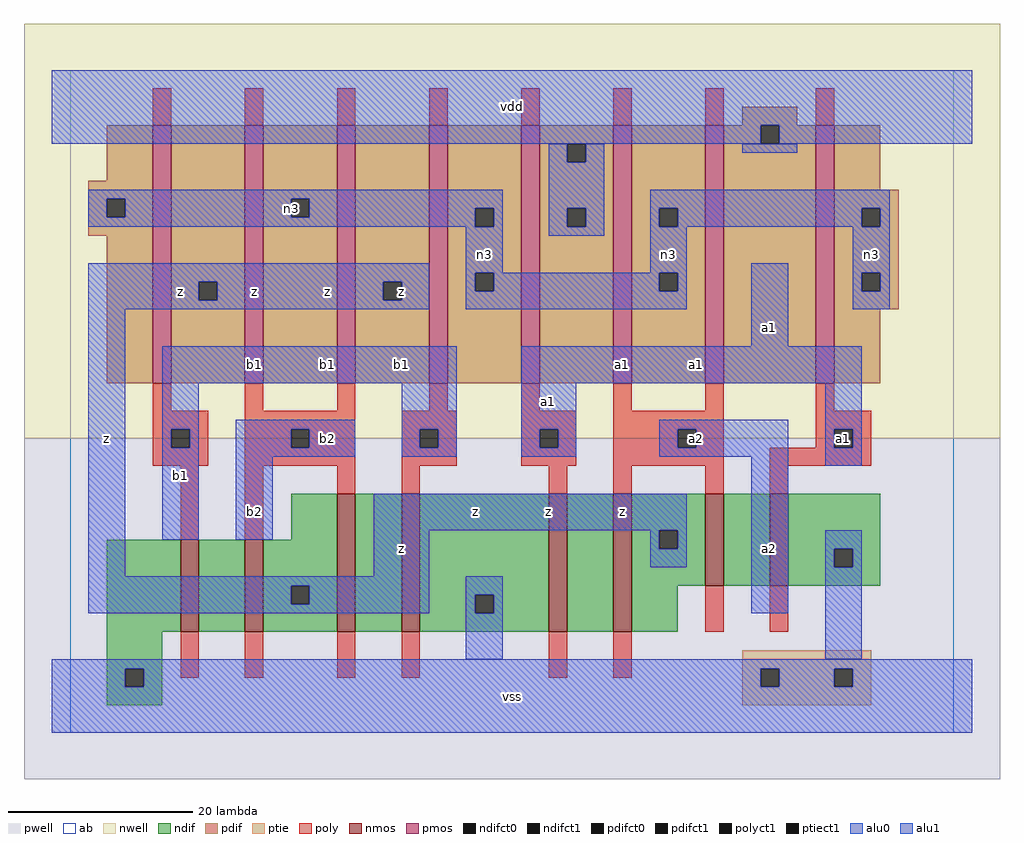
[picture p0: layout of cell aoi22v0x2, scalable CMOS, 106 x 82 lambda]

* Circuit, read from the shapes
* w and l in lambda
.subckt aoi22v0x2 a1 a2 b1 b2 n3 vdd vss z
M1 n1 b1 vss vss nfet w=10 l=2
M2 z b2 n1 vss nfet w=10 l=2
M3 n2 b2 z vss nfet w=15 l=2
M4 vss b1 n2 vss nfet w=15 l=2
M5 n4 a1 vss vss nfet w=15 l=2
M6 z a2 n4 vss nfet w=15 l=2
M7 n5 a2 z vss nfet w=10 l=2
M8 vss a1 n5 vss nfet w=10 l=2
M9 z b1 n3 n6 pfet w=28 l=2 m=2
M10 n3 b2 z n6 pfet w=28 l=2 m=2
M11 vdd a1 n3 n6 pfet w=28 l=2 m=2
M12 n3 a2 vdd n6 pfet w=28 l=2 m=2
.ends

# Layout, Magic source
magic
tech scmos
<< ab >>
rect 0 0 96 72
<< nwell >>
rect -5 32 101 77
<< pwell >>
rect -5 -5 101 32
<< poly >>
rect 9 66 11 70
rect 19 66 21 70
rect 29 66 31 70
rect 39 66 41 70
rect 49 66 51 70
rect 59 66 61 70
rect 69 66 71 70
rect 81 66 83 70
rect 9 35 11 38
rect 19 35 21 38
rect 29 35 31 38
rect 39 35 41 38
rect 49 35 51 38
rect 59 35 61 38
rect 69 35 71 38
rect 9 33 15 35
rect 9 31 11 33
rect 13 31 15 33
rect 9 29 15 31
rect 19 33 31 35
rect 19 31 24 33
rect 26 31 31 33
rect 19 29 31 31
rect 12 21 14 29
rect 19 21 21 29
rect 29 26 31 29
rect 36 33 42 35
rect 36 31 38 33
rect 40 31 42 33
rect 36 29 42 31
rect 49 33 55 35
rect 49 31 51 33
rect 53 31 55 33
rect 49 29 55 31
rect 59 33 71 35
rect 59 31 66 33
rect 68 31 71 33
rect 81 35 83 38
rect 81 33 87 35
rect 81 31 83 33
rect 85 31 87 33
rect 59 29 71 31
rect 36 26 38 29
rect 52 26 54 29
rect 59 26 61 29
rect 69 26 71 29
rect 76 29 87 31
rect 76 26 78 29
rect 69 11 71 16
rect 76 11 78 16
rect 12 6 14 11
rect 19 6 21 11
rect 29 6 31 11
rect 36 6 38 11
rect 52 6 54 11
rect 59 6 61 11
<< ndif >>
rect 24 21 29 26
rect 4 11 12 21
rect 14 11 19 21
rect 21 16 29 21
rect 21 14 24 16
rect 26 14 29 16
rect 21 11 29 14
rect 31 11 36 26
rect 38 15 52 26
rect 38 13 44 15
rect 46 13 52 15
rect 38 11 52 13
rect 54 11 59 26
rect 61 22 69 26
rect 61 20 64 22
rect 66 20 69 22
rect 61 16 69 20
rect 71 16 76 26
rect 78 20 88 26
rect 78 18 83 20
rect 85 18 88 20
rect 78 16 88 18
rect 61 11 66 16
rect 4 7 10 11
rect 4 5 6 7
rect 8 5 10 7
rect 4 3 10 5
<< pdif >>
rect 73 66 79 68
rect 4 60 9 66
rect 2 58 9 60
rect 2 56 4 58
rect 6 56 9 58
rect 2 54 9 56
rect 4 38 9 54
rect 11 49 19 66
rect 11 47 14 49
rect 16 47 19 49
rect 11 38 19 47
rect 21 58 29 66
rect 21 56 24 58
rect 26 56 29 58
rect 21 38 29 56
rect 31 49 39 66
rect 31 47 34 49
rect 36 47 39 49
rect 31 38 39 47
rect 41 57 49 66
rect 41 55 44 57
rect 46 55 49 57
rect 41 50 49 55
rect 41 48 44 50
rect 46 48 49 50
rect 41 38 49 48
rect 51 64 59 66
rect 51 62 54 64
rect 56 62 59 64
rect 51 57 59 62
rect 51 55 54 57
rect 56 55 59 57
rect 51 38 59 55
rect 61 57 69 66
rect 61 55 64 57
rect 66 55 69 57
rect 61 50 69 55
rect 61 48 64 50
rect 66 48 69 50
rect 61 38 69 48
rect 71 64 75 66
rect 77 64 81 66
rect 71 38 81 64
rect 83 59 88 66
rect 83 57 90 59
rect 83 55 86 57
rect 88 55 90 57
rect 83 50 90 55
rect 83 48 86 50
rect 88 48 90 50
rect 83 46 90 48
rect 83 38 88 46
<< alu1 >>
rect -2 66 98 72
rect -2 64 75 66
rect 77 64 98 66
rect 2 49 39 51
rect 2 47 14 49
rect 16 47 34 49
rect 36 47 39 49
rect 2 46 39 47
rect 2 17 6 46
rect 74 42 78 51
rect 10 38 42 42
rect 10 33 14 38
rect 10 31 11 33
rect 13 31 14 33
rect 10 21 14 31
rect 18 33 31 34
rect 18 31 24 33
rect 26 31 31 33
rect 18 30 31 31
rect 36 33 42 38
rect 36 31 38 33
rect 40 31 42 33
rect 36 30 42 31
rect 49 38 86 42
rect 49 33 55 38
rect 49 31 51 33
rect 53 31 55 33
rect 49 30 55 31
rect 64 33 78 34
rect 64 31 66 33
rect 68 31 78 33
rect 64 30 78 31
rect 18 21 22 30
rect 33 22 67 26
rect 33 17 39 22
rect 63 20 64 22
rect 66 20 67 22
rect 63 18 67 20
rect 2 16 39 17
rect 2 14 24 16
rect 26 14 39 16
rect 2 13 39 14
rect 74 13 78 30
rect 82 33 86 38
rect 82 31 83 33
rect 85 31 86 33
rect 82 29 86 31
rect -2 7 98 8
rect -2 5 6 7
rect 8 5 75 7
rect 77 5 83 7
rect 85 5 98 7
rect -2 0 98 5
<< ptie >>
rect 73 7 87 9
rect 73 5 75 7
rect 77 5 83 7
rect 85 5 87 7
rect 73 3 87 5
<< nmos >>
rect 12 11 14 21
rect 19 11 21 21
rect 29 11 31 26
rect 36 11 38 26
rect 52 11 54 26
rect 59 11 61 26
rect 69 16 71 26
rect 76 16 78 26
<< pmos >>
rect 9 38 11 66
rect 19 38 21 66
rect 29 38 31 66
rect 39 38 41 66
rect 49 38 51 66
rect 59 38 61 66
rect 69 38 71 66
rect 81 38 83 66
<< polyct1 >>
rect 11 31 13 33
rect 24 31 26 33
rect 38 31 40 33
rect 51 31 53 33
rect 66 31 68 33
rect 83 31 85 33
<< ndifct0 >>
rect 44 13 46 15
rect 83 18 85 20
<< ndifct1 >>
rect 24 14 26 16
rect 64 20 66 22
rect 6 5 8 7
<< ptiect1 >>
rect 75 5 77 7
rect 83 5 85 7
<< pdifct0 >>
rect 4 56 6 58
rect 24 56 26 58
rect 44 55 46 57
rect 44 48 46 50
rect 54 62 56 64
rect 54 55 56 57
rect 64 55 66 57
rect 64 48 66 50
rect 86 55 88 57
rect 86 48 88 50
<< pdifct1 >>
rect 14 47 16 49
rect 34 47 36 49
rect 75 64 77 66
<< alu0 >>
rect 52 62 54 64
rect 56 62 58 64
rect 73 63 79 64
rect 2 58 47 59
rect 2 56 4 58
rect 6 56 24 58
rect 26 57 47 58
rect 26 56 44 57
rect 2 55 44 56
rect 46 55 47 57
rect 43 50 47 55
rect 52 57 58 62
rect 52 55 54 57
rect 56 55 58 57
rect 52 54 58 55
rect 63 57 89 59
rect 63 55 64 57
rect 66 55 86 57
rect 88 55 89 57
rect 63 50 67 55
rect 43 48 44 50
rect 46 48 64 50
rect 66 48 67 50
rect 43 46 67 48
rect 85 50 89 55
rect 85 48 86 50
rect 88 48 89 50
rect 85 46 89 48
rect 43 15 47 17
rect 43 13 44 15
rect 46 13 47 15
rect 82 20 86 22
rect 82 18 83 20
rect 85 18 86 20
rect 43 8 47 13
rect 82 8 86 18
<< labels >>
rlabel alu0 45 52 45 52 6 n3
rlabel alu0 24 57 24 57 6 n3
rlabel alu0 87 52 87 52 6 n3
rlabel alu0 65 52 65 52 6 n3
rlabel alu1 12 28 12 28 6 b1
rlabel alu1 4 32 4 32 6 z
rlabel alu1 12 48 12 48 6 z
rlabel alu1 20 24 20 24 6 b2
rlabel alu1 28 32 28 32 6 b2
rlabel alu1 20 40 20 40 6 b1
rlabel alu1 28 40 28 40 6 b1
rlabel alu1 20 48 20 48 6 z
rlabel alu1 28 48 28 48 6 z
rlabel alu1 48 4 48 4 6 vss
rlabel alu1 36 20 36 20 6 z
rlabel alu1 44 24 44 24 6 z
rlabel alu1 52 24 52 24 6 z
rlabel alu1 36 40 36 40 6 b1
rlabel alu1 52 36 52 36 6 a1
rlabel alu1 36 48 36 48 6 z
rlabel alu1 48 68 48 68 6 vdd
rlabel alu1 60 24 60 24 6 z
rlabel alu1 76 20 76 20 6 a2
rlabel alu1 68 32 68 32 6 a2
rlabel alu1 60 40 60 40 6 a1
rlabel alu1 68 40 68 40 6 a1
rlabel alu1 76 44 76 44 6 a1
rlabel polyct1 84 32 84 32 6 a1
<< end >>
